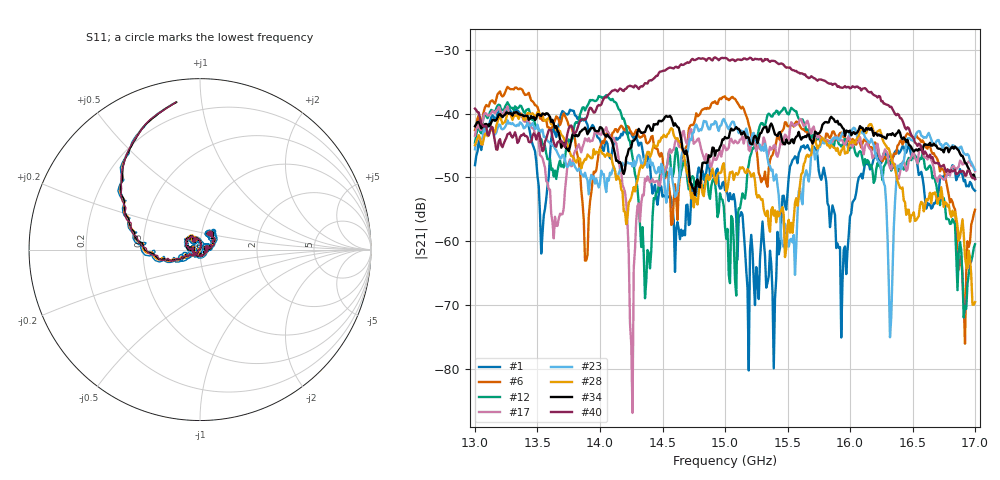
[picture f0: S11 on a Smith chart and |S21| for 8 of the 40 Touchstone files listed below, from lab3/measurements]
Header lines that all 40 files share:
!Keysight Technologies,P9374A,MY57211807,A.19.30.04
!Correction: S11(C  2-Port  )
!S21(C  2-Port  )
!S12(C  2-Port  )
!S22(C  2-Port  )
!S2P File: Measurements: S11, S21, S12, S22:
# Hz S  dB  R 50
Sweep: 13 GHz to 17 GHz
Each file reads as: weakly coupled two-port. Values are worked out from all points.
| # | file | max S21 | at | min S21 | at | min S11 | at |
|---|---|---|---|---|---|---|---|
| 1 | 1x8ap2.s2p | -39.17 dB | 13.27 GHz | -80.2 dB | 15.19 GHz | -44.8 dB | 15.68 GHz |
| 2 | 1x8ap4.s2p | -37.99 dB | 13.26 GHz | -67.9 dB | 14.88 GHz | -50.3 dB | 15.61 GHz |
| 3 | 1x8ap6.s2p | -36.91 dB | 13.32 GHz | -57.9 dB | 15.71 GHz | -54.4 dB | 15.59 GHz |
| 4 | 1x8ap8.s2p | -36.12 dB | 13.26 GHz | -56.9 dB | 16.97 GHz | -52.7 dB | 15.6 GHz |
| 5 | 1x8ap10.s2p | -36.10 dB | 13.37 GHz | -66.1 dB | 16.92 GHz | -49.0 dB | 15.6 GHz |
| 6 | 1x8ap12.s2p | -35.80 dB | 13.26 GHz | -76.0 dB | 16.92 GHz | -51.7 dB | 15.61 GHz |
| 7 | 1x8ap14.s2p | -36.45 dB | 13.26 GHz | -80.7 dB | 16.88 GHz | -49.2 dB | 15.62 GHz |
| 8 | 1x8ap16.s2p | -36.70 dB | 13.37 GHz | -71.0 dB | 14.64 GHz | -45.1 dB | 15.63 GHz |
| 9 | 1x8ap18.s2p | -37.25 dB | 13.38 GHz | -73.5 dB | 14.67 GHz | -52.8 dB | 15.6 GHz |
| 10 | 1x8ap20.s2p | -37.02 dB | 14.04 GHz | -67.2 dB | 14.71 GHz | -54.4 dB | 15.6 GHz |
| 11 | 1x8ap22.s2p | -37.03 dB | 14.04 GHz | -82.5 dB | 16.89 GHz | -48.8 dB | 15.61 GHz |
| 12 | 1x8ap24.s2p | -37.08 dB | 14.05 GHz | -71.9 dB | 16.91 GHz | -52.4 dB | 15.6 GHz |
| 13 | 1x8ap26.s2p | -37.58 dB | 14.04 GHz | -68.8 dB | 14.36 GHz | -50.1 dB | 15.6 GHz |
| 14 | 1x8ap28.s2p | -38.38 dB | 14.05 GHz | -72.7 dB | 14.34 GHz | -52.7 dB | 15.6 GHz |
| 15 | 1x8ap30.s2p | -38.97 dB | 13.19 GHz | -73.2 dB | 14.29 GHz | -54.9 dB | 15.6 GHz |
| 16 | 1x8ap32.s2p | -38.50 dB | 13.18 GHz | -67.7 dB | 13.63 GHz | -55.0 dB | 15.6 GHz |
| 17 | 1x8ap34.s2p | -38.84 dB | 13.26 GHz | -86.9 dB | 14.26 GHz | -48.2 dB | 15.6 GHz |
| 18 | 1x8ap36.s2p | -39.51 dB | 13.26 GHz | -62.9 dB | 13.62 GHz | -53.3 dB | 15.6 GHz |
| 19 | 1x8ap38.s2p | -39.71 dB | 13.19 GHz | -65.2 dB | 14.19 GHz | -49.0 dB | 15.62 GHz |
| 20 | 1x8ap40.s2p | -40.15 dB | 13.19 GHz | -66.0 dB | 16.31 GHz | -51.6 dB | 15.6 GHz |
| 21 | 1x8ap42.s2p | -40.20 dB | 14.99 GHz | -68.1 dB | 14.63 GHz | -52.2 dB | 15.59 GHz |
| 22 | 1x8ap44.s2p | -40.92 dB | 13.37 GHz | -63.7 dB | 16.31 GHz | -51.6 dB | 15.6 GHz |
| 23 | 1x8ap46.s2p | -40.82 dB | 14.99 GHz | -75.0 dB | 16.32 GHz | -49.0 dB | 15.6 GHz |
| 24 | 1x8ap48.s2p | -40.96 dB | 13.44 GHz | -60.1 dB | 15.47 GHz | -46.1 dB | 15.61 GHz |
| 25 | 1x8ap50.s2p | -40.05 dB | 13.5 GHz | -61.1 dB | 15.48 GHz | -47.0 dB | 15.61 GHz |
| 26 | 1x8ap52.s2p | -40.01 dB | 13.42 GHz | -61.4 dB | 15.47 GHz | -51.9 dB | 15.64 GHz |
| 27 | 1x8ap54.s2p | -40.14 dB | 13.5 GHz | -65.4 dB | 15.48 GHz | -54.5 dB | 15.6 GHz |
| 28 | 1x8ap56.s2p | -39.75 dB | 13.5 GHz | -69.9 dB | 16.99 GHz | -56.1 dB | 15.6 GHz |
| 29 | 1x8ap58.s2p | -39.64 dB | 13.51 GHz | -75.2 dB | 15.39 GHz | -51.8 dB | 15.6 GHz |
| 30 | 1x8ap60.s2p | -39.16 dB | 13.26 GHz | -71.2 dB | 16.51 GHz | -50.9 dB | 15.6 GHz |
| 31 | 1x8ap62.s2p | -39.53 dB | 13.26 GHz | -70.0 dB | 14.19 GHz | -58.5 dB | 15.6 GHz |
| 32 | 1x8ap66.s2p | -39.30 dB | 13.2 GHz | -66.9 dB | 14.77 GHz | -49.1 dB | 15.6 GHz |
| 33 | 1x8ap68.s2p | -39.57 dB | 13.27 GHz | -63.0 dB | 14.8 GHz | -59.0 dB | 15.6 GHz |
| 34 | 1x8ap70.s2p | -39.74 dB | 13.33 GHz | -52.7 dB | 14.76 GHz | -46.8 dB | 15.6 GHz |
| 35 | 1x8ap-2.s2p | -33.48 dB | 14.92 GHz | -55.3 dB | 16.91 GHz | -56.6 dB | 15.67 GHz |
| 36 | 1x8ap-3.s2p | -39.23 dB | 15.35 GHz | -74.1 dB | 14.2 GHz | -52.8 dB | 15.63 GHz |
| 37 | 1x8ap-4.s2p | -32.43 dB | 14.92 GHz | -55.0 dB | 16.89 GHz | -43.1 dB | 15.66 GHz |
| 38 | 1x8ap-6.s2p | -31.21 dB | 14.92 GHz | -54.1 dB | 17 GHz | -50.0 dB | 15.62 GHz |
| 39 | 1x8ap-8.s2p | -30.85 dB | 14.92 GHz | -52.4 dB | 16.86 GHz | -45.5 dB | 15.63 GHz |
| 40 | 1x8ap-10.s2p | -31.16 dB | 14.92 GHz | -50.2 dB | 17 GHz | -57.5 dB | 15.6 GHz |
